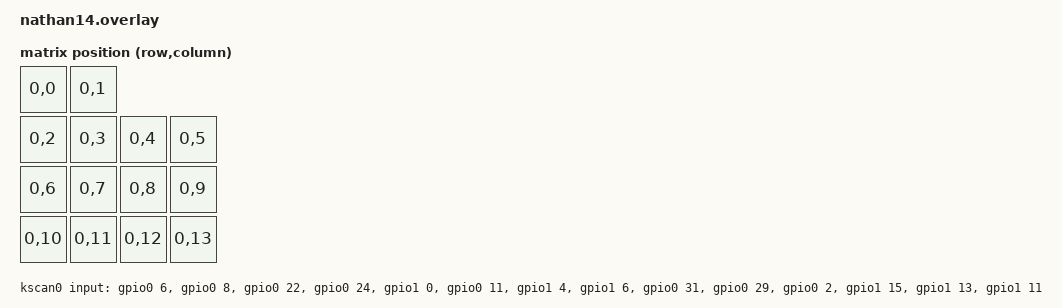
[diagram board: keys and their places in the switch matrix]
#include <dt-bindings/zmk/matrix_transform.h>
#include <physical_layouts.dtsi>

/ {
    chosen {
        zmk,kscan = &kscan0;
        zmk,physical-layout = &physical_layout0;
        zephyr,display = &oled;
    };

    kscan0: kscan_0 {
        compatible = "zmk,kscan-gpio-direct";
        wakeup-source;

        input-gpios
            = <&gpio0 6 (GPIO_ACTIVE_LOW | GPIO_PULL_UP)>
            , <&gpio0 8 (GPIO_ACTIVE_LOW | GPIO_PULL_UP)>
            , <&gpio0 22 (GPIO_ACTIVE_LOW | GPIO_PULL_UP)>
            , <&gpio0 24 (GPIO_ACTIVE_LOW | GPIO_PULL_UP)>
            , <&gpio1 0 (GPIO_ACTIVE_LOW | GPIO_PULL_UP)>
            , <&gpio0 11 (GPIO_ACTIVE_LOW | GPIO_PULL_UP)>
            , <&gpio1 4 (GPIO_ACTIVE_LOW | GPIO_PULL_UP)>
            , <&gpio1 6 (GPIO_ACTIVE_LOW | GPIO_PULL_UP)>
            , <&gpio0 31 (GPIO_ACTIVE_LOW | GPIO_PULL_UP)>
            , <&gpio0 29 (GPIO_ACTIVE_LOW | GPIO_PULL_UP)>
            , <&gpio0 2 (GPIO_ACTIVE_LOW | GPIO_PULL_UP)>
            , <&gpio1 15 (GPIO_ACTIVE_LOW | GPIO_PULL_UP)>
            , <&gpio1 13 (GPIO_ACTIVE_LOW | GPIO_PULL_UP)>
            , <&gpio1 11 (GPIO_ACTIVE_LOW | GPIO_PULL_UP)>
            ;

    };

    physical_layout0: default_layout {
        compatible = "zmk,physical-layout";
        display-name = "Default Layout";
        transform = <&default_transform>;
        kscan = <&kscan0>;

        keys  //                     w   h    x    y     rot    rx    ry
            = <&key_physical_attrs 100 100    0    0       0     0     0>
            , <&key_physical_attrs 100 100  100    0       0     0     0>
            , <&key_physical_attrs 100 100    0  100       0     0     0>
            , <&key_physical_attrs 100 100  100  100       0     0     0>
            , <&key_physical_attrs 100 100  200  100       0     0     0>
            , <&key_physical_attrs 100 100  300  100       0     0     0>
            , <&key_physical_attrs 100 100    0  200       0     0     0>
            , <&key_physical_attrs 100 100  100  200       0     0     0>
            , <&key_physical_attrs 100 100  200  200       0     0     0>
            , <&key_physical_attrs 100 100  300  200       0     0     0>
            , <&key_physical_attrs 100 100    0  300       0     0     0>
            , <&key_physical_attrs 100 100  100  300       0     0     0>
            , <&key_physical_attrs 100 100  200  300       0     0     0>
            , <&key_physical_attrs 100 100  300  300       0     0     0>
            ;
    };

    default_transform: keymap_transform_0 {
        compatible = "zmk,matrix-transform";
        columns = <14>;
        rows = <1>;

        map = <
            RC(0, 0) RC(0, 1) RC(0, 2) RC(0, 3) RC(0, 4) RC(0, 5) RC(0, 6) RC(0, 7) RC(0, 8) RC(0, 9) RC(0, 10) RC(0, 11) RC(0, 12) RC(0, 13)
        >;
    };
};

&pro_micro_i2c {
    status = "okay";

    oled: ssd1306@3c {
        compatible = "solomon,ssd1306fb";
        reg = <0x3d>;
        width = <128>;
        height = <64>;
        segment-offset = <0>;
        page-offset = <0>;
        display-offset = <0>;
        multiplex-ratio = <31>;
        segment-remap;
        com-invdir;
        com-sequential;
        inversion-on;
        prechargep = <0x22>;
    };
};
